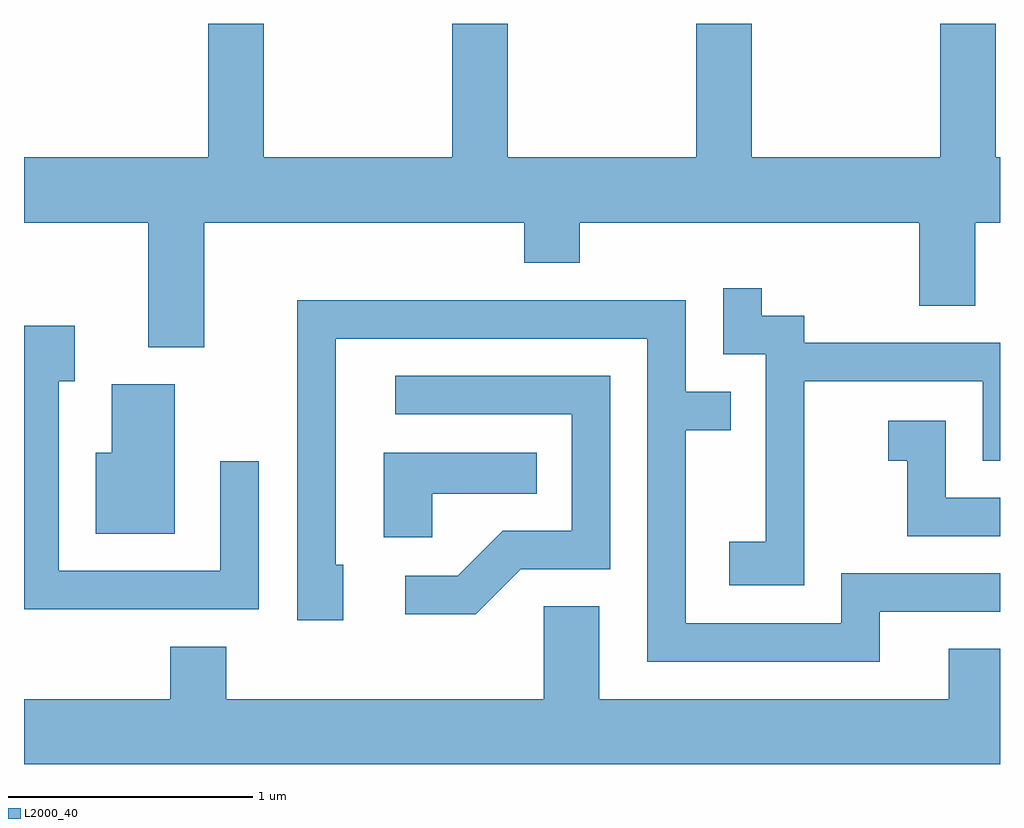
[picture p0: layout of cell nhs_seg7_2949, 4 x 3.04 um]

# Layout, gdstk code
import gdstk
lib = gdstk.Library(unit=1e-6, precision=1e-09)
def P(c, l, *ps):  # polygons
    for p in ps: c.add(gdstk.Polygon(p, *l))
L2000_40 = (2000, 40)

nhs_seg7_2949 = lib.new_cell('nhs_seg7_2949')
P(nhs_seg7_2949, L2000_40, [(276.349,1705.436),(277.661,1705.436),(277.661,1705.271),(277.889,1705.271),(277.889,1705.436),(279.281,1705.436),(279.281,1705.096),(279.509,1705.096),(279.509,1705.436),(279.611,1705.436),(279.611,1705.704),(279.594,1705.704),(279.594,1706.252),(279.366,1706.252),(279.366,1705.704),(278.594,1705.704),(278.594,1706.252),(278.366,1706.252),(278.366,1705.704),(277.594,1705.704),(277.594,1706.252),(277.366,1706.252),(277.366,1705.704),(276.594,1705.704),(276.594,1706.252),(276.366,1706.252),(276.366,1705.704),(275.611,1705.704),(275.611,1705.436),(276.121,1705.436),(276.121,1704.926),(276.349,1704.926)],
  [(278.809,1704.786),(279.541,1704.786),(279.541,1704.461),(279.611,1704.461),(279.611,1704.944),(278.809,1704.944),(278.809,1705.054),(278.634,1705.054),(278.634,1705.168),(278.476,1705.168),(278.476,1704.896),(278.651,1704.896),(278.651,1704.129),(278.501,1704.129),(278.501,1703.951),(278.809,1703.951)],
  [(279.119,1703.841),(279.611,1703.841),(279.611,1703.999),(278.961,1703.999),(278.961,1703.794),(278.324,1703.794),(278.324,1704.586),(278.508,1704.586),(278.508,1704.744),(278.324,1704.744),(278.324,1705.119),(276.731,1705.119),(276.731,1703.806),(276.919,1703.806),(276.919,1704.034),(276.889,1704.034),(276.889,1704.961),(278.166,1704.961),(278.166,1703.636),(279.119,1703.636)],
  [(276.574,1704.458),(276.416,1704.458),(276.416,1704.009),(275.754,1704.009),(275.754,1704.786),(275.819,1704.786),(275.819,1705.014),(275.611,1705.014),(275.611,1703.851),(276.574,1703.851)],
  [(277.647,1704.016),(278.014,1704.016),(278.014,1704.809),(277.133,1704.809),(277.133,1704.651),(277.856,1704.651),(277.856,1704.174),(277.574,1704.174),(277.389,1703.989),(277.173,1703.989),(277.173,1703.831),(277.462,1703.831)],
  [(276.229,1704.774),(275.971,1704.774),(275.971,1704.494),(275.906,1704.494),(275.906,1704.161),(276.229,1704.161)],
  [(279.611,1704.309),(279.389,1704.309),(279.389,1704.624),(279.153,1704.624),(279.153,1704.461),(279.231,1704.461),(279.231,1704.151),(279.611,1704.151)],
  [(277.284,1704.326),(277.713,1704.326),(277.713,1704.494),(277.086,1704.494),(277.086,1704.146),(277.284,1704.146)],
  [(279.611,1703.689),(279.401,1703.689),(279.401,1703.484),(277.969,1703.484),(277.969,1703.864),(277.741,1703.864),(277.741,1703.484),(276.439,1703.484),(276.439,1703.699),(276.211,1703.699),(276.211,1703.484),(275.611,1703.484),(275.611,1703.216),(279.611,1703.216)])

lib.write_gds('nhs_seg7_2949.gds')
